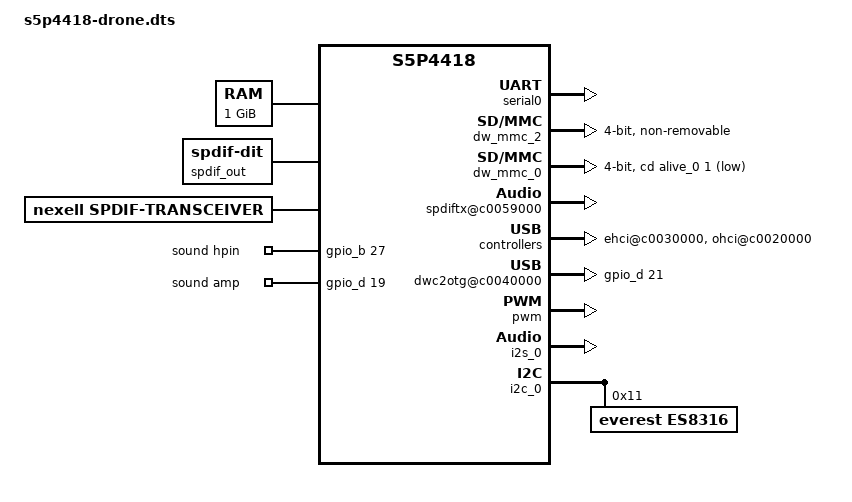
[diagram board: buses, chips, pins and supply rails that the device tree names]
/*
 * Copyright (C) 2016  Nexell Co., Ltd.
 * Author: Youngbok, Park <ybpark@nexell.co.kr>
 *
 * This program is free software; you can redistribute it and/or
 * modify it under the terms of the GNU General Public License
 * as published by the Free Software Foundation; either version 2
 * of the License, or (at your option) any later version.
 *
 * This program is distributed in the hope that it will be useful,
 * but WITHOUT ANY WARRANTY; without even the implied warranty of
 * MERCHANTABILITY or FITNESS FOR A PARTICULAR PURPOSE.  See the
 * GNU General Public License for more details.
 *
 * You should have received a copy of the GNU General Public License
 * along with this program.  If not, see <http://www.gnu.org/licenses/>.
 */

/dts-v1/;
#include <dt-bindings/interrupt-controller/irq.h>
#include "s5p4418.dtsi"

/ {
	memory {
		device_type = "memory";
		reg = <0x40000000 0x40000000>;
	};

	soc {
		#include "s5p4418-pinctrl.dtsi"
		clocks {
			uart0:uart@c00a9000 { clock-frequency = <147500000>; };
			i2c0:i2c@c00ae000  { clock-frequency = <200000000>; };
		};

		serial0:serial@c00a1000 {
			status ="okay";
		};

		amba {
			pl08xdma0:pl08xdma@c0000000 {
				use_isr;

				ch12 {
					slave_wait_flush_dma;
				};

				ch13 {
					slave_wait_flush_dma;
				};

				ch14 {
					slave_wait_flush_dma;
				};

				ch15 {
					slave_wait_flush_dma;
				};
			};

			pl08xdma1:pl08xdma@c0001000 {
				use_isr;

				ch0 {
					slave_wait_flush_dma;
				};

				ch1 {
					slave_wait_flush_dma;
				};
			};
		};

		dw_mmc_2:dw_mmc@c0069000 {
			num-slots = <1>;
			bus-width = <4>;
			cap-mmc-highspeed;
			broken-cd;
			non-removable;
			clock-frequency = <200000000>;
			card-detect-delay = <200>;
			disable-wp;
			status = "okay";
			nexell,drive_dly = <0x0>;
			nexell,drive_shift = <0x03>;
			nexell,sample_dly = <0x00>;
			nexell,sample_shift = <0x02>;
		};

		dw_mmc_0:dw_mmc@c0062000 {
			num-slots = <1>;
			bus-width = <4>;
			cap-sd-highspeed;
			clock-frequency = <100000000>;
			card-detect-delay = <200>;
			disable-wp;
			cd-gpios = <&alive_0 1>;
			cd-inverted;
			nexell,drive_dly = <0x0>;
			nexell,drive_shift = <0x02>;
			nexell,sample_dly = <0x00>;
			nexell,sample_shift = <0x01>;
			status = "okay";
		};

		spdiftx@c0059000 {
			pcm-bit = <16>;
			sample_rate = <48000>;
			status = "okay";
		};

		watchdog@c0019000 {
			status = "okay";
		};

		rtc@c0010c00 {
			status = "okay";
		};

		nexell_usbphy: nexell-usbphy@c0012000 {
			status = "okay";
		};

		ehci@c0030000 {
			status = "okay";
			port@0 {
				status = "okay";
			};
		};

		ohci@c0020000 {
			status = "okay";
			port@0 {
				status = "okay";
			};
		};

		dwc2otg@c0040000 {
			gpios = <&gpio_d 21 0>;
			status = "okay";
		};

		pwm:pwm@c0018000 {
			status = "okay";
		};

		i2s_0:i2s@c0055000 {
			master-mode = <1>;
			mclk-in = <0>;
			trans-mode = <0>;
			frame-bit = <32>;
			sample-rate = <48000>;
			pre-supply-mclk = <1>;
			status = "okay";
		};

		i2c_0:i2c@c00a4000 {
			status = "okay";
			#address-cells = <1>;
			#size-cells = <0>;

			es8316: es8316@11 {
				compatible = "everest,es8316";
				reg = <0x11>;
			};
		};
	};	/*** soc ***/

	spdif_out: spdif-out {
		compatible = "linux,spdif-dit";
	};

	spdif-transceiver {
		compatible = "nexell,spdif-transceiver";
		sample_rate = <48000>;
		format = "S16";
	};

	sound {
		compatible = "nexell,nexell-es8316";
		ch = <0>;
		sample-rate = <48000>;
		format = "S16";
		hpin-support = <1>;
		hpin-gpio = <&gpio_b 27 0>;
		hpin-level = <1>;
		amp-gpio = <&gpio_d 19 0>;
		i2s-controller = <&i2s_0>;
		audio-codec = <&es8316>;
	};
};

